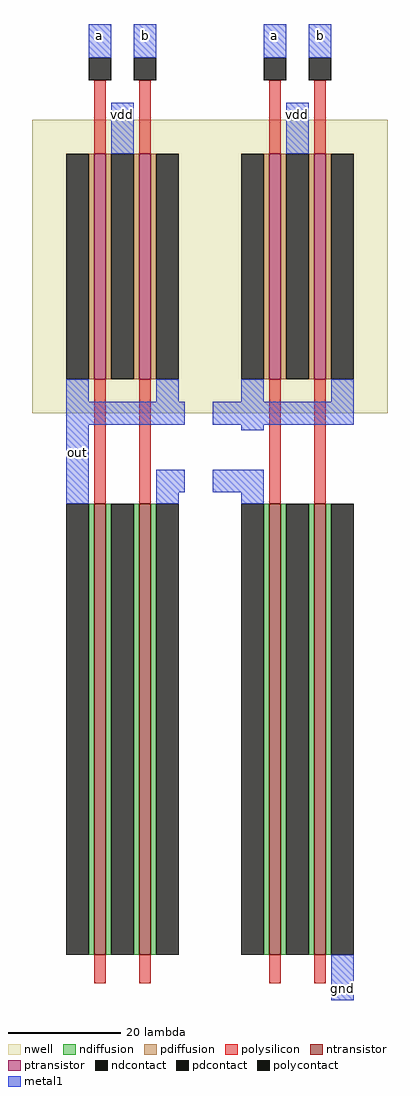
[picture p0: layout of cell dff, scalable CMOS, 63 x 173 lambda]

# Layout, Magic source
magic
tech scmos
<< nwell >>
rect -11 71 52 123
<< ntransistor >>
rect 0 -25 2 55
rect 8 -25 10 55
rect 31 -25 33 55
rect 39 -25 41 55
<< ptransistor >>
rect 0 77 2 117
rect 8 77 10 117
rect 31 77 33 117
rect 39 77 41 117
<< ndiffusion >>
rect -1 -25 0 55
rect 2 -25 3 55
rect 7 -25 8 55
rect 10 -25 11 55
rect 30 -25 31 55
rect 33 -25 34 55
rect 38 -25 39 55
rect 41 -25 42 55
<< pdiffusion >>
rect -1 77 0 117
rect 2 77 3 117
rect 7 77 8 117
rect 10 77 11 117
rect 30 77 31 117
rect 33 77 34 117
rect 38 77 39 117
rect 41 77 42 117
<< ndcontact >>
rect -5 -25 -1 55
rect 3 -25 7 55
rect 11 -25 15 55
rect 26 -25 30 55
rect 34 -25 38 55
rect 42 -25 46 55
<< pdcontact >>
rect -5 77 -1 117
rect 3 77 7 117
rect 11 77 15 117
rect 26 77 30 117
rect 34 77 38 117
rect 42 77 46 117
<< polysilicon >>
rect 0 117 2 130
rect 8 117 10 130
rect 31 117 33 130
rect 39 117 41 130
rect 0 55 2 77
rect 8 55 10 77
rect 31 55 33 77
rect 39 55 41 77
rect 0 -30 2 -25
rect 8 -30 10 -25
rect 31 -30 33 -25
rect 39 -30 41 -25
<< polycontact >>
rect -1 130 3 134
rect 7 130 11 134
rect 30 130 34 134
rect 38 130 42 134
<< metal1 >>
rect -1 134 3 140
rect 7 134 11 140
rect 30 134 34 140
rect 38 134 42 140
rect 3 117 7 126
rect 34 117 38 126
rect -5 73 -1 77
rect 11 73 15 77
rect 26 73 30 77
rect 42 73 46 77
rect -5 69 16 73
rect 21 69 46 73
rect -5 55 -1 69
rect 26 68 30 69
rect 11 57 16 61
rect 21 57 30 61
rect 11 55 15 57
rect 26 55 30 57
rect 42 -33 46 -25
<< labels >>
rlabel metal1 3 122 7 126 1 vdd
rlabel metal1 7 136 11 140 5 b
rlabel metal1 -1 136 3 140 5 a
rlabel metal1 -5 62 -1 66 1 out
rlabel metal1 42 -33 46 -29 1 gnd
rlabel metal1 30 136 34 140 5 a
rlabel metal1 38 136 42 140 5 b
rlabel metal1 34 122 38 126 1 vdd
<< end >>
